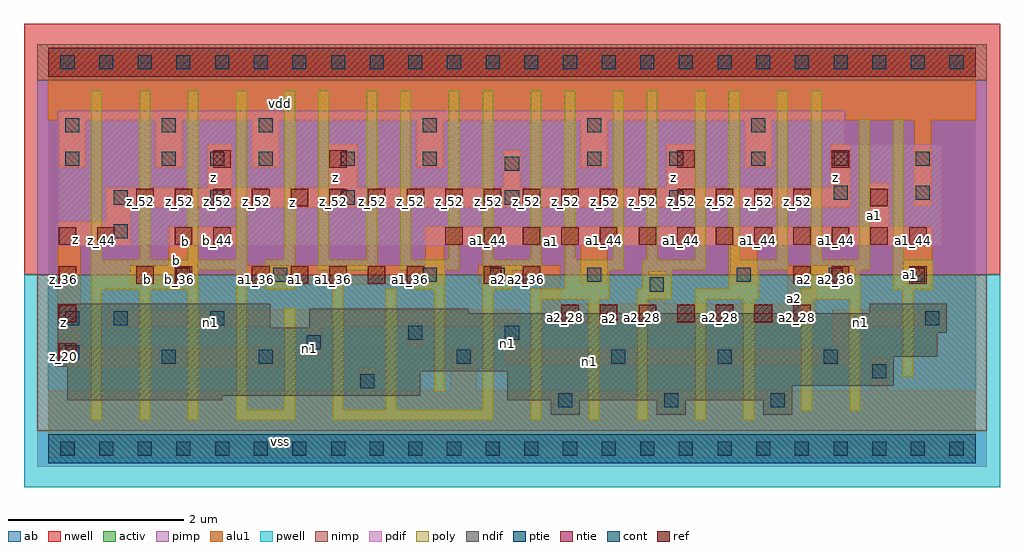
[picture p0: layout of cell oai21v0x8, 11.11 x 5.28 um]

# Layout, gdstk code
import gdstk
lib = gdstk.Library(unit=1e-6, precision=2.5e-09)
def R(c, l, rs):  # rectangles x0, y0, x1, y1
    for r in rs: c.add(gdstk.rectangle(r[:2], r[2:], *l))
def A(c, l, x, y, w, h, nx, ny, dx, dy):  # array of equal rectangles
    R(c, l, [(x+i*dx, y+j*dy, x+i*dx+w, y+j*dy+h) for i in range(nx) for j in range(ny)])
ndif = (3, 0)
pdif = (4, 0)
ntie = (5, 0)
ptie = (6, 0)
ref = (24, 0)
cont = (25, 0)
pwell = (41, 0)
nwell = (42, 0)
activ = (43, 0)
pimp = (44, 0)
nimp = (45, 0)
poly = (46, 0)
alu1 = (49, 0)
ab = (63, 0)

oai21v0x8 = lib.new_cell('oai21v0x8')
A(oai21v0x8, ndif, 5.72, 0.385, 0.33, 0.165, 3, 1, 1.21, 0)
R(oai21v0x8, ndif, [(0.22,0.55,1.98,0.605), (5.225,0.55,8.47,0.715), (0.22,0.605,4.235,0.88), (5.225,0.715,9.625,0.88), (0.22,0.88,9.625,0.935), (0.11,0.935,9.625,1.045), (0.11,1.045,10.12,1.32), (0.11,1.32,10.23,1.375), (0.11,1.375,2.53,1.65), (2.97,1.375,10.23,1.54), (2.97,1.54,4.785,1.595), (9.35,1.54,10.23,1.65)])
R(oai21v0x8, pdif, [(0.11,2.31,10.175,3.465), (0.11,3.465,9.075,3.85)])
R(oai21v0x8, ntie, [(0,4.235,10.56,4.565)])
R(oai21v0x8, ptie, [(0,-0.165,10.56,0.165)])
A(oai21v0x8, ref, 0.12, 1, 0.2, 0.2, 1, 4, 0, 0.44)
A(oai21v0x8, ref, 5.84, 1.44, 0.2, 0.2, 7, 1, 0.44, 0)
A(oai21v0x8, ref, 2.32, 1.88, 0.2, 0.2, 5, 1, 0.44, 0)
A(oai21v0x8, ref, 4.52, 2.32, 0.2, 0.2, 13, 1, 0.44, 0)
A(oai21v0x8, ref, 1, 2.76, 0.2, 0.2, 18, 1, 0.44, 0)
R(oai21v0x8, ref, [(1,1.88,1.2,2.08), (1.44,1.88,1.64,2.08), (4.96,1.88,5.16,2.08), (5.4,1.88,5.6,2.08), (8.48,1.88,8.68,2.08), (8.92,1.88,9.12,2.08), (9.8,1.88,10,2.08), (0.56,2.32,0.76,2.52), (1.44,2.32,1.64,2.52), (1.88,2.32,2.08,2.52), (9.36,2.76,9.56,2.96), (1.88,3.2,2.08,3.4), (3.2,3.2,3.4,3.4), (7.16,3.2,7.36,3.4), (8.92,3.2,9.12,3.4)])
A(oai21v0x8, cont, 0.14, -0.08, 0.16, 0.16, 24, 2, 0.44, 4.4)
A(oai21v0x8, cont, 5.805, 0.47, 0.16, 0.16, 3, 1, 1.21, 0)
A(oai21v0x8, cont, 6.41, 0.965, 0.16, 0.16, 3, 1, 1.21, 0)
A(oai21v0x8, cont, 3.33, 2.78, 0.16, 0.16, 3, 1, 1.87, 0)
A(oai21v0x8, cont, 1.295, 3.22, 0.16, 0.16, 3, 1, 0.55, 0)
A(oai21v0x8, cont, 6.135, 3.22, 0.16, 0.16, 5, 1, 0.935, 0)
A(oai21v0x8, cont, 0.195, 3.605, 0.16, 0.16, 3, 1, 1.1, 0)
A(oai21v0x8, cont, 4.265, 3.605, 0.16, 0.16, 3, 1, 1.87, 0)
R(oai21v0x8, cont, [(3.55,0.69,3.71,0.85), (9.38,0.8,9.54,0.96), (1.295,0.965,1.455,1.125), (2.395,0.965,2.555,1.125), (4.65,0.965,4.81,1.125), (0.195,1.02,0.355,1.18), (2.945,1.13,3.105,1.29), (4.1,1.24,4.26,1.4), (5.2,1.24,5.36,1.4), (0.195,1.405,0.355,1.565), (0.745,1.405,0.905,1.565), (1.845,1.405,2.005,1.565), (9.985,1.405,10.145,1.565), (6.85,1.79,7.01,1.95), (1.46,1.9,1.62,2.06), (2.56,1.9,2.72,2.06), (4.265,1.9,4.425,2.06), (5.035,1.9,5.195,2.06), (6.135,1.9,6.295,2.06), (7.84,1.9,8,2.06), (8.885,1.9,9.045,2.06), (9.82,1.9,9.98,2.06), (0.745,2.395,0.905,2.555), (0.745,2.78,0.905,2.94), (1.845,2.78,2.005,2.94), (8.94,2.835,9.1,2.995), (9.875,2.835,10.035,2.995), (5.2,3.165,5.36,3.325), (0.195,3.22,0.355,3.38), (3.33,3.22,3.49,3.38), (4.265,3.22,4.425,3.38)])
R(oai21v0x8, pwell, [(-0.275,-0.44,10.835,1.98)])
R(oai21v0x8, nwell, [(-0.275,1.98,10.835,4.84)])
A(oai21v0x8, activ, 5.72, 0.385, 0.33, 0.165, 3, 1, 1.21, 0)
R(oai21v0x8, activ, [(0,-0.165,10.56,0.165), (0.22,0.55,1.98,0.605), (5.225,0.55,8.47,0.715), (0.22,0.605,4.235,0.88), (5.225,0.715,9.625,0.88), (0.22,0.88,9.625,0.935), (0.11,0.935,9.625,1.045), (0.11,1.045,10.12,1.32), (0.11,1.32,10.23,1.375), (0.11,1.375,2.53,1.65), (2.97,1.375,10.23,1.54), (2.97,1.54,4.785,1.595), (9.35,1.54,10.23,1.65), (0.11,2.31,10.175,3.465), (0.11,3.465,9.075,3.85), (0,4.235,10.56,4.565)])
R(oai21v0x8, pimp, [(-0.125,-0.205,10.685,0.205), (-0.125,1.98,10.685,4.195)])
R(oai21v0x8, nimp, [(-0.125,0.205,10.685,1.98), (-0.125,4.195,10.685,4.605)])
A(oai21v0x8, poly, 0.49, 0.325, 0.12, 1.485, 3, 1, 0.55, 0)
A(oai21v0x8, poly, 3.075, 2.03, 0.67, 0.12, 4, 1, 0.935, 0)
A(oai21v0x8, poly, 0.49, 2.15, 0.12, 1.925, 5, 1, 0.55, 0)
R(oai21v0x8, poly, [(2.14,0.325,2.81,0.445), (3.24,0.325,5.065,0.445), (5.495,0.325,5.615,1.7), (6.155,0.325,6.275,1.7), (6.705,0.325,6.825,1.7), (7.365,0.325,7.485,1.7), (7.915,0.325,8.035,1.7), (8.575,0.435,8.695,1.7), (9.125,0.435,9.245,1.7), (2.14,0.445,2.26,2.03), (2.69,0.445,2.81,1.6), (3.24,0.445,3.36,2.03), (3.845,0.445,3.965,1.82), (4.945,0.445,5.065,1.81), (4.395,0.655,4.515,1.81), (9.73,0.82,9.85,1.81), (5.495,1.7,6.385,1.82), (6.705,1.7,7.1,1.82), (7.365,1.7,8.09,1.82), (8.575,1.7,9.245,1.82), (0.49,1.81,1.71,2.03), (2.47,1.81,2.81,2.15), (4.175,1.81,4.515,2.03), (4.945,1.81,5.285,2.03), (9.62,1.81,10.07,2.15), (5.88,1.82,6.385,2.03), (6.76,1.82,7.1,2.03), (7.75,1.82,8.09,2.03), (8.685,1.82,9.245,2.03), (0.49,2.03,2.26,2.15), (6.76,2.03,7.485,2.15), (7.75,2.03,8.42,2.15), (8.685,2.03,9.355,2.15), (3.075,2.15,3.195,4.075), (3.625,2.15,3.745,4.075), (4.01,2.15,4.13,4.075), (4.56,2.15,4.68,4.075), (4.945,2.15,5.065,4.075), (5.495,2.15,5.615,4.075), (5.88,2.15,6,4.075), (6.43,2.15,6.55,4.075), (6.815,2.15,6.935,4.075), (7.365,2.15,7.485,4.075), (7.75,2.15,7.87,4.075), (8.3,2.15,8.42,4.075), (8.685,2.15,8.805,4.075), (9.235,2.15,9.355,3.745), (9.62,2.15,9.74,3.745)])
A(oai21v0x8, alu1, 0.125, 3.205, 0.3, 0.535, 3, 1, 1.1, 0)
A(oai21v0x8, alu1, 4.195, 3.205, 0.3, 0.535, 3, 1, 1.87, 0)
R(oai21v0x8, alu1, [(0,-0.11,10.56,0.66), (3.535,0.66,3.725,0.92), (4.58,0.66,4.88,1.14), (9.365,0.66,9.555,1.03), (0.11,0.935,2.64,1.155), (5.185,0.95,9.115,1.14), (2.93,1.06,3.12,1.39), (5.185,1.14,5.375,1.39), (8.925,1.14,9.115,1.39), (0.11,1.155,0.37,2.31), (4.085,1.17,4.275,1.39), (0.675,1.39,5.375,1.58), (8.925,1.39,10.215,1.58), (5.61,1.43,8.745,1.65), (5.61,1.65,5.83,1.87), (6.835,1.65,7.025,2.02), (8.415,1.65,8.745,1.87), (0.935,1.87,1.705,2.09), (2.255,1.87,4.51,2.09), (4.895,1.87,5.83,2.09), (8.415,1.87,9.185,2.09), (9.735,1.87,10.065,2.31), (6.065,1.885,6.365,2.31), (7.77,1.885,8.07,2.31), (1.375,2.09,1.705,2.31), (4.29,2.09,4.51,2.31), (0.11,2.31,0.935,2.585), (1.375,2.31,2.145,2.53), (4.29,2.31,10.065,2.53), (9.35,2.53,9.57,3.025), (0.66,2.585,0.935,2.75), (0.66,2.75,9.13,2.97), (9.86,2.765,10.05,3.74), (1.815,2.97,2.09,3.465), (3.19,2.97,3.52,3.465), (5.185,2.97,5.375,3.395), (7.04,2.97,7.37,3.465), (8.91,2.97,9.13,3.465), (0,3.74,10.56,4.51)])
R(oai21v0x8, ab, [(0,0,10.56,4.4)])
oai21v0x8.add(gdstk.Label('vss', (2.64,0.0825), layer=49, texttype=0))
oai21v0x8.add(gdstk.Label('n1', (6.1675,0.9975), layer=49, texttype=0))
oai21v0x8.add(gdstk.Label('n1', (9.2475,1.4375), layer=49, texttype=0))
oai21v0x8.add(gdstk.Label('n1', (5.2325,1.2025), layer=49, texttype=0))
oai21v0x8.add(gdstk.Label('n1', (2.9775,1.1425), layer=49, texttype=0))
oai21v0x8.add(gdstk.Label('a2', (6.3925,1.485), layer=49, texttype=0))
oai21v0x8.add(gdstk.Label('n1', (1.85,1.4375), layer=49, texttype=0))
oai21v0x8.add(gdstk.Label('a2', (8.4975,1.705), layer=49, texttype=0))
oai21v0x8.add(gdstk.Label('a1', (9.8175,1.98), layer=49, texttype=0))
oai21v0x8.add(gdstk.Label('a2', (8.6075,1.925), layer=49, texttype=0))
oai21v0x8.add(gdstk.Label('a2', (5.1275,1.925), layer=49, texttype=0))
oai21v0x8.add(gdstk.Label('a1', (2.8175,1.925), layer=49, texttype=0))
oai21v0x8.add(gdstk.Label('b', (1.1275,1.925), layer=49, texttype=0))
oai21v0x8.add(gdstk.Label('b', (1.4575,2.145), layer=49, texttype=0))
oai21v0x8.add(gdstk.Label('z', (0.175,1.4425), layer=49, texttype=0))
oai21v0x8.add(gdstk.Label('a1', (5.7325,2.365), layer=49, texttype=0))
oai21v0x8.add(gdstk.Label('b', (1.5675,2.365), layer=49, texttype=0))
oai21v0x8.add(gdstk.Label('a1', (9.405,2.6525), layer=49, texttype=0))
oai21v0x8.add(gdstk.Label('z', (0.315,2.3775), layer=49, texttype=0))
oai21v0x8.add(gdstk.Label('z', (2.7775,2.805), layer=49, texttype=0))
oai21v0x8.add(gdstk.Label('z', (8.965,3.0925), layer=49, texttype=0))
oai21v0x8.add(gdstk.Label('z', (7.1225,3.0925), layer=49, texttype=0))
oai21v0x8.add(gdstk.Label('z', (3.2725,3.0925), layer=49, texttype=0))
oai21v0x8.add(gdstk.Label('z', (1.8825,3.0925), layer=49, texttype=0))
oai21v0x8.add(gdstk.Label('vdd', (2.64,3.9325), layer=49, texttype=0))
oai21v0x8.add(gdstk.Label('z_52', (5.01,2.81), layer=24, texttype=0))
oai21v0x8.add(gdstk.Label('a1_44', (5.01,2.37), layer=24, texttype=0))
oai21v0x8.add(gdstk.Label('a2_36', (5.01,1.93), layer=24, texttype=0))
oai21v0x8.add(gdstk.Label('z_52', (4.57,2.81), layer=24, texttype=0))
oai21v0x8.add(gdstk.Label('a1_44', (4.57,2.37), layer=24, texttype=0))
oai21v0x8.add(gdstk.Label('z_52', (4.13,2.81), layer=24, texttype=0))
oai21v0x8.add(gdstk.Label('a1_36', (4.13,1.93), layer=24, texttype=0))
oai21v0x8.add(gdstk.Label('z_52', (3.69,2.81), layer=24, texttype=0))
oai21v0x8.add(gdstk.Label('a1_36', (3.69,1.93), layer=24, texttype=0))
oai21v0x8.add(gdstk.Label('z_60', (3.25,3.25), layer=24, texttype=0))
oai21v0x8.add(gdstk.Label('z_52', (3.25,2.81), layer=24, texttype=0))
oai21v0x8.add(gdstk.Label('a1_36', (3.25,1.93), layer=24, texttype=0))
oai21v0x8.add(gdstk.Label('z_52', (2.81,2.81), layer=24, texttype=0))
oai21v0x8.add(gdstk.Label('a1_36', (2.81,1.93), layer=24, texttype=0))
oai21v0x8.add(gdstk.Label('z_52', (2.37,2.81), layer=24, texttype=0))
oai21v0x8.add(gdstk.Label('a1_36', (2.37,1.93), layer=24, texttype=0))
oai21v0x8.add(gdstk.Label('z_44', (0.17,2.37), layer=24, texttype=0))
oai21v0x8.add(gdstk.Label('z_36', (0.17,1.93), layer=24, texttype=0))
oai21v0x8.add(gdstk.Label('z_28', (0.17,1.49), layer=24, texttype=0))
oai21v0x8.add(gdstk.Label('z_20', (0.17,1.05), layer=24, texttype=0))
oai21v0x8.add(gdstk.Label('z_60', (1.93,3.25), layer=24, texttype=0))
oai21v0x8.add(gdstk.Label('z_52', (1.93,2.81), layer=24, texttype=0))
oai21v0x8.add(gdstk.Label('b_44', (1.93,2.37), layer=24, texttype=0))
oai21v0x8.add(gdstk.Label('z_52', (1.49,2.81), layer=24, texttype=0))
oai21v0x8.add(gdstk.Label('b_44', (1.49,2.37), layer=24, texttype=0))
oai21v0x8.add(gdstk.Label('b_36', (1.49,1.93), layer=24, texttype=0))
oai21v0x8.add(gdstk.Label('z_52', (1.05,2.81), layer=24, texttype=0))
oai21v0x8.add(gdstk.Label('b_36', (1.05,1.93), layer=24, texttype=0))
oai21v0x8.add(gdstk.Label('a1_44', (9.85,2.37), layer=24, texttype=0))
oai21v0x8.add(gdstk.Label('a1_36', (9.85,1.93), layer=24, texttype=0))
oai21v0x8.add(gdstk.Label('a1_52', (9.41,2.81), layer=24, texttype=0))
oai21v0x8.add(gdstk.Label('a1_44', (9.41,2.37), layer=24, texttype=0))
oai21v0x8.add(gdstk.Label('z_60', (8.97,3.25), layer=24, texttype=0))
oai21v0x8.add(gdstk.Label('a1_44', (8.97,2.37), layer=24, texttype=0))
oai21v0x8.add(gdstk.Label('a2_36', (8.97,1.93), layer=24, texttype=0))
oai21v0x8.add(gdstk.Label('z_52', (8.53,2.81), layer=24, texttype=0))
oai21v0x8.add(gdstk.Label('a1_44', (8.53,2.37), layer=24, texttype=0))
oai21v0x8.add(gdstk.Label('a2_36', (8.53,1.93), layer=24, texttype=0))
oai21v0x8.add(gdstk.Label('a2_28', (8.53,1.49), layer=24, texttype=0))
oai21v0x8.add(gdstk.Label('z_52', (8.09,2.81), layer=24, texttype=0))
oai21v0x8.add(gdstk.Label('a1_44', (8.09,2.37), layer=24, texttype=0))
oai21v0x8.add(gdstk.Label('a2_28', (8.09,1.49), layer=24, texttype=0))
oai21v0x8.add(gdstk.Label('z_52', (7.65,2.81), layer=24, texttype=0))
oai21v0x8.add(gdstk.Label('a1_44', (7.65,2.37), layer=24, texttype=0))
oai21v0x8.add(gdstk.Label('a2_28', (7.65,1.49), layer=24, texttype=0))
oai21v0x8.add(gdstk.Label('z_60', (7.21,3.25), layer=24, texttype=0))
oai21v0x8.add(gdstk.Label('z_52', (7.21,2.81), layer=24, texttype=0))
oai21v0x8.add(gdstk.Label('a1_44', (7.21,2.37), layer=24, texttype=0))
oai21v0x8.add(gdstk.Label('a2_28', (7.21,1.49), layer=24, texttype=0))
oai21v0x8.add(gdstk.Label('z_52', (6.77,2.81), layer=24, texttype=0))
oai21v0x8.add(gdstk.Label('a1_44', (6.77,2.37), layer=24, texttype=0))
oai21v0x8.add(gdstk.Label('a2_28', (6.77,1.49), layer=24, texttype=0))
oai21v0x8.add(gdstk.Label('z_44', (0.61,2.37), layer=24, texttype=0))
oai21v0x8.add(gdstk.Label('z_52', (6.33,2.81), layer=24, texttype=0))
oai21v0x8.add(gdstk.Label('a1_44', (6.33,2.37), layer=24, texttype=0))
oai21v0x8.add(gdstk.Label('a2_28', (6.33,1.49), layer=24, texttype=0))
oai21v0x8.add(gdstk.Label('z_52', (5.89,2.81), layer=24, texttype=0))
oai21v0x8.add(gdstk.Label('a1_44', (5.89,2.37), layer=24, texttype=0))
oai21v0x8.add(gdstk.Label('a2_28', (5.89,1.49), layer=24, texttype=0))
oai21v0x8.add(gdstk.Label('z_52', (5.45,2.81), layer=24, texttype=0))
oai21v0x8.add(gdstk.Label('a1_44', (5.45,2.37), layer=24, texttype=0))
oai21v0x8.add(gdstk.Label('a2_36', (5.45,1.93), layer=24, texttype=0))

lib.write_gds('oai21v0x8.gds')
